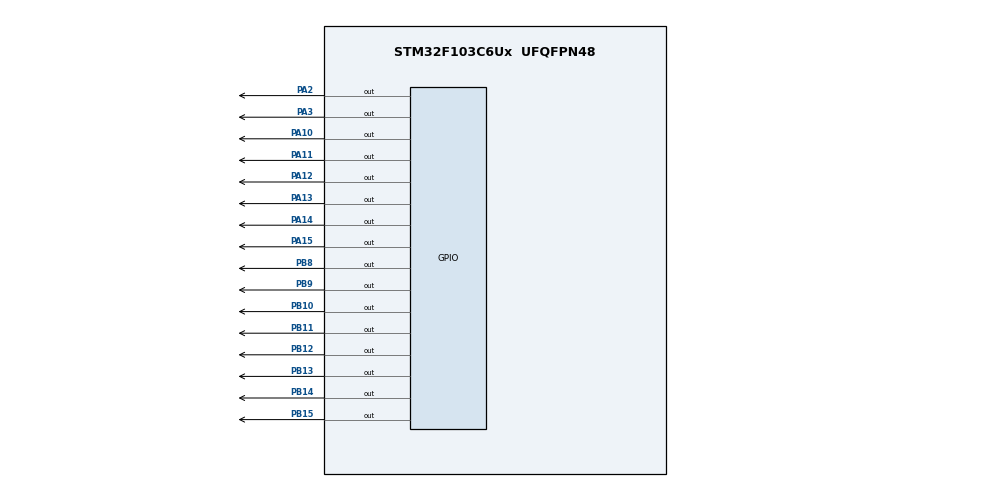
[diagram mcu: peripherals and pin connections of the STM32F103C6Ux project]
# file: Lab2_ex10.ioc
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Mcu.Family=STM32F1
Mcu.Name=STM32F103C6Ux
Mcu.Package=UFQFPN48
NVIC.PriorityGroup=NVIC_PRIORITYGROUP_4
NVIC.TIM2_IRQn=true\:0\:0\:false\:false\:true\:true\:true
PA10.Signal=GPIO_Output
PA11.Signal=GPIO_Output
PA12.Signal=GPIO_Output
PA13.Signal=GPIO_Output
PA14.Signal=GPIO_Output
PA15.Signal=GPIO_Output
PA2.Signal=GPIO_Output
PA3.Signal=GPIO_Output
PB10.Signal=GPIO_Output
PB11.Signal=GPIO_Output
PB12.Signal=GPIO_Output
PB13.Signal=GPIO_Output
PB14.Signal=GPIO_Output
PB15.Signal=GPIO_Output
PB8.Signal=GPIO_Output
PB9.Signal=GPIO_Output
ProjectManager.HeapSize=0x200
ProjectManager.StackSize=0x400
ProjectManager.TargetToolchain=STM32CubeIDE
RCC.APB1Freq_Value=8000000
RCC.APB2Freq_Value=8000000
TIM2.Period=1
TIM2.Prescaler=7999
VP_SYS_VS_ND.Mode=No_Debug
VP_TIM2_VS_ClockSourceINT.Mode=Internal
board=custom

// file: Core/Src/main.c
/* USER CODE BEGIN Header */
/**
  ******************************************************************************
  * @file           : main.c
  * @brief          : Main program body
  ******************************************************************************
  * @attention
  *
  * <h2><center>&copy; Copyright (c) 2025 STMicroelectronics.
  * All rights reserved.</center></h2>
  *
  * This software component is licensed by ST under BSD 3-Clause license,
  * the "License"; You may not use this file except in compliance with the
  * License. You may obtain a copy of the License at:
  *                        opensource.org/licenses/BSD-3-Clause
  *
  ******************************************************************************
  */
/* USER CODE END Header */
#include "main.h"

TIM_HandleTypeDef htim2;

void SystemClock_Config(void);
static void MX_GPIO_Init(void);
static void MX_TIM2_Init(void);

/* USER CODE BEGIN 0 */
void display7SEG(uint8_t num){
	if (num > 9) return;
	switch (num)
	{
	case 0:
		HAL_GPIO_WritePin(GPIOB, GPIO_PIN_0, GPIO_PIN_RESET);
		HAL_GPIO_WritePin(GPIOB, GPIO_PIN_1, GPIO_PIN_RESET);
		HAL_GPIO_WritePin(GPIOB, GPIO_PIN_2, GPIO_PIN_RESET);
		HAL_GPIO_WritePin(GPIOB, GPIO_PIN_3, GPIO_PIN_RESET);
		HAL_GPIO_WritePin(GPIOB, GPIO_PIN_4, GPIO_PIN_RESET);
		HAL_GPIO_WritePin(GPIOB, GPIO_PIN_5, GPIO_PIN_RESET);
		HAL_GPIO_WritePin(GPIOB, GPIO_PIN_6, GPIO_PIN_SET);
		break;
	case 1:
		HAL_GPIO_WritePin(GPIOB, GPIO_PIN_0, GPIO_PIN_SET);
		HAL_GPIO_WritePin(GPIOB, GPIO_PIN_1, GPIO_PIN_RESET);
		HAL_GPIO_WritePin(GPIOB, GPIO_PIN_2, GPIO_PIN_RESET);
		HAL_GPIO_WritePin(GPIOB, GPIO_PIN_3, GPIO_PIN_SET);
		HAL_GPIO_WritePin(GPIOB, GPIO_PIN_4, GPIO_PIN_SET);
		HAL_GPIO_WritePin(GPIOB, GPIO_PIN_5, GPIO_PIN_SET);
		HAL_GPIO_WritePin(GPIOB, GPIO_PIN_6, GPIO_PIN_SET);
		break;
	case 2:
		HAL_GPIO_WritePin(GPIOB, GPIO_PIN_0, GPIO_PIN_RESET);
		HAL_GPIO_WritePin(GPIOB, GPIO_PIN_1, GPIO_PIN_RESET);
		HAL_GPIO_WritePin(GPIOB, GPIO_PIN_2, GPIO_PIN_SET);
		HAL_GPIO_WritePin(GPIOB, GPIO_PIN_3, GPIO_PIN_RESET);
		HAL_GPIO_WritePin(GPIOB, GPIO_PIN_4, GPIO_PIN_RESET);
		HAL_GPIO_WritePin(GPIOB, GPIO_PIN_5, GPIO_PIN_SET);
		HAL_GPIO_WritePin(GPIOB, GPIO_PIN_6, GPIO_PIN_RESET);
		break;
	case 3:
		HAL_GPIO_WritePin(GPIOB, GPIO_PIN_0, GPIO_PIN_RESET);
		HAL_GPIO_WritePin(GPIOB, GPIO_PIN_1, GPIO_PIN_RESET);
		HAL_GPIO_WritePin(GPIOB, GPIO_PIN_2, GPIO_PIN_RESET);
		HAL_GPIO_WritePin(GPIOB, GPIO_PIN_3, GPIO_PIN_RESET);
		HAL_GPIO_WritePin(GPIOB, GPIO_PIN_4, GPIO_PIN_SET);
		HAL_GPIO_WritePin(GPIOB, GPIO_PIN_5, GPIO_PIN_SET);
		HAL_GPIO_WritePin(GPIOB, GPIO_PIN_6, GPIO_PIN_RESET);
		break;
	case 4:
        HAL_GPIO_WritePin(GPIOB, GPIO_PIN_0, GPIO_PIN_SET);
        HAL_GPIO_WritePin(GPIOB, GPIO_PIN_1, GPIO_PIN_RESET);
        HAL_GPIO_WritePin(GPIOB, GPIO_PIN_2, GPIO_PIN_RESET);
        HAL_GPIO_WritePin(GPIOB, GPIO_PIN_3, GPIO_PIN_SET);
        HAL_GPIO_WritePin(GPIOB, GPIO_PIN_4, GPIO_PIN_SET);
        HAL_GPIO_WritePin(GPIOB, GPIO_PIN_5, GPIO_PIN_RESET);
        HAL_GPIO_WritePin(GPIOB, GPIO_PIN_6, GPIO_PIN_RESET);
        break;
	case 5:
		HAL_GPIO_WritePin(GPIOB, GPIO_PIN_0, GPIO_PIN_RESET);
		HAL_GPIO_WritePin(GPIOB, GPIO_PIN_1, GPIO_PIN_SET);
		HAL_GPIO_WritePin(GPIOB, GPIO_PIN_2, GPIO_PIN_RESET);
		HAL_GPIO_WritePin(GPIOB, GPIO_PIN_3, GPIO_PIN_RESET);
		HAL_GPIO_WritePin(GPIOB, GPIO_PIN_4, GPIO_PIN_SET);
		HAL_GPIO_WritePin(GPIOB, GPIO_PIN_5, GPIO_PIN_RESET);
		HAL_GPIO_WritePin(GPIOB, GPIO_PIN_6, GPIO_PIN_RESET);
		break;
	case 6:
		HAL_GPIO_WritePin(GPIOB, GPIO_PIN_0, GPIO_PIN_RESET);
		HAL_GPIO_WritePin(GPIOB, GPIO_PIN_1, GPIO_PIN_SET);
		HAL_GPIO_WritePin(GPIOB, GPIO_PIN_2, GPIO_PIN_RESET);
		HAL_GPIO_WritePin(GPIOB, GPIO_PIN_3, GPIO_PIN_RESET);
		HAL_GPIO_WritePin(GPIOB, GPIO_PIN_4, GPIO_PIN_RESET);
		HAL_GPIO_WritePin(GPIOB, GPIO_PIN_5, GPIO_PIN_RESET);
		HAL_GPIO_WritePin(GPIOB, GPIO_PIN_6, GPIO_PIN_RESET);
		break;
	case 7:
		HAL_GPIO_WritePin(GPIOB, GPIO_PIN_0, GPIO_PIN_RESET);
		HAL_GPIO_WritePin(GPIOB, GPIO_PIN_1, GPIO_PIN_RESET);
		HAL_GPIO_WritePin(GPIOB, GPIO_PIN_2, GPIO_PIN_RESET);
		HAL_GPIO_WritePin(GPIOB, GPIO_PIN_3, GPIO_PIN_SET);
		HAL_GPIO_WritePin(GPIOB, GPIO_PIN_4, GPIO_PIN_SET);
		HAL_GPIO_WritePin(GPIOB, GPIO_PIN_5, GPIO_PIN_SET);
		HAL_GPIO_WritePin(GPIOB, GPIO_PIN_6, GPIO_PIN_SET);
		break;
	case 8:
		HAL_GPIO_WritePin(GPIOB, GPIO_PIN_0, GPIO_PIN_RESET);
		HAL_GPIO_WritePin(GPIOB, GPIO_PIN_1, GPIO_PIN_RESET);
		HAL_GPIO_WritePin(GPIOB, GPIO_PIN_2, GPIO_PIN_RESET);
		HAL_GPIO_WritePin(GPIOB, GPIO_PIN_3, GPIO_PIN_RESET);
		HAL_GPIO_WritePin(GPIOB, GPIO_PIN_4, GPIO_PIN_RESET);
		HAL_GPIO_WritePin(GPIOB, GPIO_PIN_5, GPIO_PIN_RESET);
		HAL_GPIO_WritePin(GPIOB, GPIO_PIN_6, GPIO_PIN_RESET);
		break;
	case 9:
		HAL_GPIO_WritePin(GPIOB, GPIO_PIN_0, GPIO_PIN_RESET);
		HAL_GPIO_WritePin(GPIOB, GPIO_PIN_1, GPIO_PIN_RESET);
		HAL_GPIO_WritePin(GPIOB, GPIO_PIN_2, GPIO_PIN_RESET);
		HAL_GPIO_WritePin(GPIOB, GPIO_PIN_3, GPIO_PIN_RESET);
HAL_GPIO_WritePin(GPIOB, GPIO_PIN_4, GPIO_PIN_SET);
		HAL_GPIO_WritePin(GPIOB, GPIO_PIN_5, GPIO_PIN_RESET);
		HAL_GPIO_WritePin(GPIOB, GPIO_PIN_6, GPIO_PIN_RESET);
		break;
	default:
		HAL_GPIO_WritePin(GPIOB, GPIO_PIN_0, GPIO_PIN_SET);
		HAL_GPIO_WritePin(GPIOB, GPIO_PIN_1, GPIO_PIN_SET);
		HAL_GPIO_WritePin(GPIOB, GPIO_PIN_2, GPIO_PIN_SET);
		HAL_GPIO_WritePin(GPIOB, GPIO_PIN_3, GPIO_PIN_SET);
		HAL_GPIO_WritePin(GPIOB, GPIO_PIN_4, GPIO_PIN_SET);
		HAL_GPIO_WritePin(GPIOB, GPIO_PIN_5, GPIO_PIN_SET);
		HAL_GPIO_WritePin(GPIOB, GPIO_PIN_6, GPIO_PIN_SET);
		break;
	}
}

const int MAX_LED = 4;
int index_led = 0;
int led_buffer[4];

void update7SEG(int index) {
	HAL_GPIO_WritePin(GPIOA, GPIO_PIN_6|GPIO_PIN_7|GPIO_PIN_8|GPIO_PIN_9, GPIO_PIN_SET);

	display7SEG(led_buffer[index]);

	switch(index){
		case 0: HAL_GPIO_WritePin(GPIOA, GPIO_PIN_6, GPIO_PIN_RESET); break;
		case 1: HAL_GPIO_WritePin(GPIOA, GPIO_PIN_7, GPIO_PIN_RESET); break;
		case 2: HAL_GPIO_WritePin(GPIOA, GPIO_PIN_8, GPIO_PIN_RESET); break;
		case 3: HAL_GPIO_WritePin(GPIOA, GPIO_PIN_9, GPIO_PIN_RESET); break;

	}
}

void updateClockBuffer(int hour, int minute)
{
    led_buffer[0] = (hour / 10) % 10;
    led_buffer[1] = hour % 10;
    led_buffer[2] = (minute / 10) % 10;
    led_buffer[3] = minute % 10;
}

int timer0_counter = 0;
int timer0_flag = 0;
int timer1_counter = 0;
int timer1_flag = 0;
int timer2_counter = 0;
int timer2_flag = 0;
int timer3_counter = 0;
int timer3_flag = 0;
int TIMER_CYCLE = 1;

void setTimer0(int duration) {
    timer0_counter = duration / TIMER_CYCLE;
    timer0_flag = 0;
}

void setTimer1(int duration) {
    timer1_counter = duration / TIMER_CYCLE;
    timer1_flag = 0;
}

void setTimer2(int duration) {
    timer2_counter = duration / TIMER_CYCLE;
    timer2_flag = 0;
}

void setTimer3(int duration) {
    timer3_counter = duration / TIMER_CYCLE;
    timer3_flag = 0;
}

void timer_run() {
    if (timer0_counter > 0) {
        timer0_counter--;
        if (timer0_counter <= 0) timer0_flag = 1;
    }
    if (timer1_counter > 0) {
        timer1_counter--;
        if (timer1_counter <= 0) timer1_flag = 1;
    }
    if (timer2_counter > 0) {
		timer2_counter--;
		if (timer2_counter <= 0) timer2_flag = 1;
	}
    if (timer3_counter > 0) {
		timer3_counter--;
		if (timer3_counter <= 0) timer3_flag = 1;
	}
}

void HAL_TIM_PeriodElapsedCallback(TIM_HandleTypeDef *htim) {
	if (htim->Instance == TIM2) {
		timer_run();
	}
}

const int MAX_LED_MATRIX = 8;
int index_led_matrix = 0;
uint8_t matrix_buffer[8] = {
	0b01111100,
	0b01000100,
	0b01000100,
	0b01111100,
	0b01000100,
	0b01000100,
	0b01000100,
	0b00000000
};

GPIO_TypeDef* rowPort = GPIOA;
const uint16_t rowPins[8] = {
    GPIO_PIN_2,  // ENM0
    GPIO_PIN_3,  // ENM1
    GPIO_PIN_10, // ENM2
    GPIO_PIN_11, // ENM3
    GPIO_PIN_12, // ENM4
    GPIO_PIN_13, // ENM5
    GPIO_PIN_14, // ENM6
	GPIO_PIN_15  // ENM7
};

GPIO_TypeDef* colPort = GPIOB;
const uint16_t colPins[8] = {
    GPIO_PIN_8,
    GPIO_PIN_9,
    GPIO_PIN_10,
    GPIO_PIN_11,
    GPIO_PIN_12,
    GPIO_PIN_13,
    GPIO_PIN_14,
    GPIO_PIN_15
};

static const uint8_t GLYPH_A[8] = {
  0b00111000,
  0b01000100,
  0b10000010,
  0b11111110,
  0b10000010,
  0b10000010,
  0b10000010,
  0b00000000
};

static uint64_t scroll_rows[8] = {0};
static int shift_index = 0;
static int SCROLL_WIDTH = 0;

static inline uint8_t reverse8(uint8_t x){
  x = (x & 0xF0) >> 4 | (x & 0x0F) << 4;
  x = (x & 0xCC) >> 2 | (x & 0x33) << 2;
  x = (x & 0xAA) >> 1 | (x & 0x55) << 1;
  return x;
}

static void buildScroll_A(void){
  const int PAD_RIGHT = 8;
  const int SPACE = 1;
  uint64_t rows[8] = {0};
  int off = PAD_RIGHT;

  for (int r=0;r<8;r++){
    rows[r] |= ((uint64_t)GLYPH_A[r]) << off;
  }
  off += 8 + SPACE;

  for (int r=0;r<8;r++) scroll_rows[r] = rows[r];

  SCROLL_WIDTH = off;
  shift_index = 0;
}

static void sliceToVisible(void){
  for (int r=0;r<8;r++){
    uint8_t raw = (uint8_t)((scroll_rows[r] >> shift_index) & 0xFF);
    matrix_buffer[r] = reverse8(raw);
  }
}

void updateLEDMatrix(int index){
    HAL_GPIO_WritePin(GPIOA, GPIO_PIN_2|GPIO_PIN_3|GPIO_PIN_10|GPIO_PIN_11|
                               GPIO_PIN_12|GPIO_PIN_13|GPIO_PIN_14|GPIO_PIN_15,
                               GPIO_PIN_SET);

    HAL_GPIO_WritePin(GPIOB, GPIO_PIN_8|GPIO_PIN_9|GPIO_PIN_10|GPIO_PIN_11|
                               GPIO_PIN_12|GPIO_PIN_13|GPIO_PIN_14|GPIO_PIN_15,
                               GPIO_PIN_SET);

    uint8_t colData = matrix_buffer[index];

    for (int c = 0; c < 8; c++) {
        if (colData & (1 << (7 - c))) {
            HAL_GPIO_WritePin(GPIOB, (GPIO_PIN_8 << c), GPIO_PIN_RESET); // bật LED
        } else {
            HAL_GPIO_WritePin(GPIOB, (GPIO_PIN_8 << c), GPIO_PIN_SET);   // tắt LED
        }
    }

    switch(index){
        case 0: HAL_GPIO_WritePin(GPIOA, GPIO_PIN_2,  GPIO_PIN_RESET); break;
        case 1: HAL_GPIO_WritePin(GPIOA, GPIO_PIN_3,  GPIO_PIN_RESET); break;
        case 2: HAL_GPIO_WritePin(GPIOA, GPIO_PIN_10, GPIO_PIN_RESET); break;
        case 3: HAL_GPIO_WritePin(GPIOA, GPIO_PIN_11, GPIO_PIN_RESET); break;
        case 4: HAL_GPIO_WritePin(GPIOA, GPIO_PIN_12, GPIO_PIN_RESET); break;
        case 5: HAL_GPIO_WritePin(GPIOA, GPIO_PIN_13, GPIO_PIN_RESET); break;
        case 6: HAL_GPIO_WritePin(GPIOA, GPIO_PIN_14, GPIO_PIN_RESET); break;
        case 7: HAL_GPIO_WritePin(GPIOA, GPIO_PIN_15, GPIO_PIN_RESET); break;
        default: break;
    }
}

/* USER CODE END 0 */

int main(void)
{

  /* MCU Configuration--------------------------------------------------------*/

  /* Reset of all peripherals, Initializes the Flash interface and the Systick. */
  HAL_Init();

  /* Configure the system clock */
  SystemClock_Config();

  /* Initialize all configured peripherals */
  MX_GPIO_Init();
  MX_TIM2_Init();
  /* USER CODE BEGIN 2 */
  HAL_TIM_Base_Start_IT(&htim2);
  int hour = 20 , minute = 59 , second = 55;
  setTimer0(1000);
  setTimer1(250);
  setTimer2(80);
  setTimer3(2);
  updateClockBuffer(hour, minute);
  buildScroll_A();
  sliceToVisible();
  /* USER CODE END 2 */

  /* Infinite loop */
  /* USER CODE BEGIN WHILE */
  while (1)
  {
	  if (timer0_flag == 1) {
		  timer0_flag = 0;
		  setTimer0(1000);

		  second++;
		  if (second >= 60) {
			  second = 0;
			  minute++;
		  }
		  if (minute >= 60) {
			  minute = 0;
			  hour++;
		  }
			if (hour >= 24) {
			  hour = 0;
		  }

		  updateClockBuffer(hour, minute);

		  HAL_GPIO_TogglePin(GPIOA, GPIO_PIN_4);
	  }
	  if (timer1_flag == 1) {
		  timer1_flag = 0;
		  setTimer1(250);

		  update7SEG(index_led);
		  index_led++;
		  if (index_led >= MAX_LED) index_led = 0;
	  }
	  if (timer2_flag == 1) {
	    timer2_flag = 0;
	    setTimer2(80);      // giữ tốc độ cuộn

	    // dịch cửa sổ sang TR�?I: tăng shift_index
	    shift_index++;
	    if (shift_index >= SCROLL_WIDTH) shift_index = 0;

	    sliceToVisible();    // cắt 8 cột mới vào matrix_buffer
	  }

	  if (timer3_flag == 1) {
		  timer3_flag = 0;
		  setTimer3(2);
		  updateLEDMatrix(index_led_matrix);
		  index_led_matrix++;
		  if (index_led_matrix >= MAX_LED_MATRIX) index_led_matrix = 0;
	  }
    /* USER CODE END WHILE */

  }
}

void SystemClock_Config(void)
{
  RCC_OscInitTypeDef RCC_OscInitStruct = {0};
  RCC_ClkInitTypeDef RCC_ClkInitStruct = {0};

  /** Initializes the RCC Oscillators according to the specified parameters
  * in the RCC_OscInitTypeDef structure.
  */
  RCC_OscInitStruct.OscillatorType = RCC_OSCILLATORTYPE_HSI;
  RCC_OscInitStruct.HSIState = RCC_HSI_ON;
  RCC_OscInitStruct.HSICalibrationValue = RCC_HSICALIBRATION_DEFAULT;
  RCC_OscInitStruct.PLL.PLLState = RCC_PLL_NONE;
  if (HAL_RCC_OscConfig(&RCC_OscInitStruct) != HAL_OK)
  {
    Error_Handler();
  }
  /** Initializes the CPU, AHB and APB buses clocks
  */
  RCC_ClkInitStruct.ClockType = RCC_CLOCKTYPE_HCLK|RCC_CLOCKTYPE_SYSCLK
                              |RCC_CLOCKTYPE_PCLK1|RCC_CLOCKTYPE_PCLK2;
  RCC_ClkInitStruct.SYSCLKSource = RCC_SYSCLKSOURCE_HSI;
  RCC_ClkInitStruct.AHBCLKDivider = RCC_SYSCLK_DIV1;
  RCC_ClkInitStruct.APB1CLKDivider = RCC_HCLK_DIV1;
  RCC_ClkInitStruct.APB2CLKDivider = RCC_HCLK_DIV1;

  if (HAL_RCC_ClockConfig(&RCC_ClkInitStruct, FLASH_LATENCY_0) != HAL_OK)
  {
    Error_Handler();
  }
}

static void MX_TIM2_Init(void)
{

  TIM_ClockConfigTypeDef sClockSourceConfig = {0};
  TIM_MasterConfigTypeDef sMasterConfig = {0};

  htim2.Instance = TIM2;
  htim2.Init.Prescaler = 7999;
  htim2.Init.CounterMode = TIM_COUNTERMODE_UP;
  htim2.Init.Period = 1;
  htim2.Init.ClockDivision = TIM_CLOCKDIVISION_DIV1;
  htim2.Init.AutoReloadPreload = TIM_AUTORELOAD_PRELOAD_DISABLE;
  if (HAL_TIM_Base_Init(&htim2) != HAL_OK)
  {
    Error_Handler();
  }
  sClockSourceConfig.ClockSource = TIM_CLOCKSOURCE_INTERNAL;
  if (HAL_TIM_ConfigClockSource(&htim2, &sClockSourceConfig) != HAL_OK)
  {
    Error_Handler();
  }
  sMasterConfig.MasterOutputTrigger = TIM_TRGO_RESET;
  sMasterConfig.MasterSlaveMode = TIM_MASTERSLAVEMODE_DISABLE;
  if (HAL_TIMEx_MasterConfigSynchronization(&htim2, &sMasterConfig) != HAL_OK)
  {
    Error_Handler();
  }

}

static void MX_GPIO_Init(void)
{
  GPIO_InitTypeDef GPIO_InitStruct = {0};

  /* GPIO Ports Clock Enable */
  __HAL_RCC_GPIOA_CLK_ENABLE();
  __HAL_RCC_GPIOB_CLK_ENABLE();

  /*Configure GPIO pin Output Level */
  HAL_GPIO_WritePin(GPIOA, GPIO_PIN_2|GPIO_PIN_3|GPIO_PIN_10|GPIO_PIN_11
                          |GPIO_PIN_12|GPIO_PIN_13|GPIO_PIN_14|GPIO_PIN_15, GPIO_PIN_SET);

  /*Configure GPIO pin Output Level */
  HAL_GPIO_WritePin(GPIOB, GPIO_PIN_10|GPIO_PIN_11|GPIO_PIN_12|GPIO_PIN_13
                          |GPIO_PIN_14|GPIO_PIN_15|GPIO_PIN_8|GPIO_PIN_9, GPIO_PIN_SET);

  /*Configure GPIO pins : PA2 PA3 PA10 PA11
                           PA12 PA13 PA14 PA15 */
  GPIO_InitStruct.Pin = GPIO_PIN_2|GPIO_PIN_3|GPIO_PIN_10|GPIO_PIN_11
                          |GPIO_PIN_12|GPIO_PIN_13|GPIO_PIN_14|GPIO_PIN_15;
  GPIO_InitStruct.Mode = GPIO_MODE_OUTPUT_PP;
  GPIO_InitStruct.Pull = GPIO_NOPULL;
  GPIO_InitStruct.Speed = GPIO_SPEED_FREQ_LOW;
  HAL_GPIO_Init(GPIOA, &GPIO_InitStruct);

  /*Configure GPIO pins : PB10 PB11 PB12 PB13
                           PB14 PB15 PB8 PB9 */
  GPIO_InitStruct.Pin = GPIO_PIN_10|GPIO_PIN_11|GPIO_PIN_12|GPIO_PIN_13
                          |GPIO_PIN_14|GPIO_PIN_15|GPIO_PIN_8|GPIO_PIN_9;
  GPIO_InitStruct.Mode = GPIO_MODE_OUTPUT_PP;
  GPIO_InitStruct.Pull = GPIO_NOPULL;
  GPIO_InitStruct.Speed = GPIO_SPEED_FREQ_LOW;
  HAL_GPIO_Init(GPIOB, &GPIO_InitStruct);

}

void Error_Handler(void)
{
  __disable_irq();
  while (1)
  {
  }
}

/************************ (C) COPYRIGHT STMicroelectronics *****END OF FILE****/
